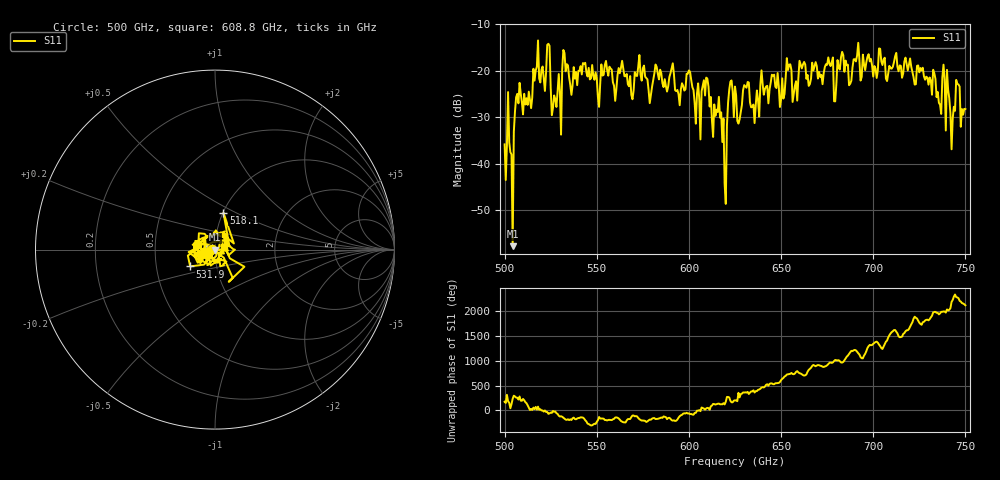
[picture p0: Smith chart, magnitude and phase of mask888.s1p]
!Created with skrf (http://scikit-rf.org).
# GHz S MA R 50.0
!freq magS11 angS11
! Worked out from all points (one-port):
!   401 points, 500 GHz to 750 GHz, reference 50 ohm
!   lowest |S11| = -57.8 dB at 504.4 GHz (marker M1), VSWR 1.00, Z = 49.9 - j0.107 ohm
!   |S11| at or under -10 dB: start of sweep to end of sweep
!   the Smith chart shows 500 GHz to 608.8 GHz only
!   S11 on the Smith chart (normalised r, x): 500 GHz: 0.97, +0.00; 518.1 GHz: 1.00, +0.43; 531.9 GHz: 0.75, -0.14; 608.8 GHz: 1.11, +0.03
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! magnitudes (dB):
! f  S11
! 500 GHz  -35.9
! 504.4 GHz  -57.8
! 506.9 GHz  -25.0
! 513.8 GHz  -26.3
! 518.1 GHz  -13.5
! 523.8 GHz  -14.2
! 526.9 GHz  -25.3
! 531.2 GHz  -19.7
! 531.9 GHz  -15.5
! 562.5 GHz  -20.6
! 579.4 GHz  -25.2
! 590.6 GHz  -19.5
! 593.8 GHz  -24.1
! 600 GHz  -19.9
! 605 GHz  -22.7
! 608.8 GHz  -25.3
! 617.5 GHz  -29.0
! 619.4 GHz  -44.4
! 622.5 GHz  -22.4
! 625 GHz  -23.4
! 656.2 GHz  -26.7
! 687.5 GHz  -22.8
! 718.8 GHz  -19.9
! 735.6 GHz  -26.9
! 738.8 GHz  -21.9
! 743.1 GHz  -30.2
! 745.6 GHz  -22.8
! 750 GHz  -28.3
